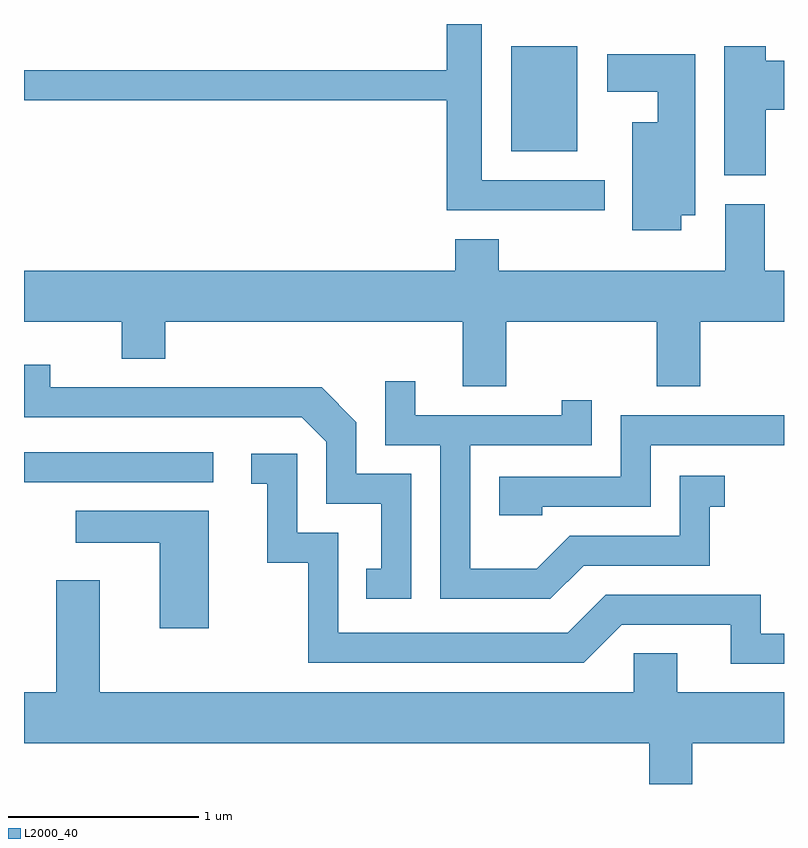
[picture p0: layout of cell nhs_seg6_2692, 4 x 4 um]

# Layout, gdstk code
import gdstk
lib = gdstk.Library(unit=1e-6, precision=1e-09)
def R(c, l, rs):  # rectangles x0, y0, x1, y1
    for r in rs: c.add(gdstk.rectangle(r[:2], r[2:], *l))
def P(c, l, *ps):  # polygons
    for p in ps: c.add(gdstk.Polygon(p, *l))
L2000_40 = (2000, 40)

nhs_seg6_2692 = lib.new_cell('nhs_seg6_2692')
R(nhs_seg6_2692, L2000_40, [(265.611,1655.751,266.608,1655.909), (268.176,1657.491,268.524,1658.044)])
P(nhs_seg6_2692, L2000_40, [(268.668,1657.339),(268.019,1657.339),(268.019,1658.162),(267.836,1658.162),(267.836,1657.919),(265.611,1657.919),(265.611,1657.761),(267.836,1657.761),(267.836,1657.181),(268.668,1657.181)],
  [(269.514,1657.711),(269.611,1657.711),(269.611,1657.969),(269.514,1657.969),(269.514,1658.044),(269.296,1658.044),(269.296,1657.366),(269.514,1657.366)],
  [(269.069,1657.156),(269.144,1657.156),(269.144,1658.004),(268.681,1658.004),(268.681,1657.806),(268.946,1657.806),(268.946,1657.644),(268.811,1657.644),(268.811,1657.076),(269.069,1657.076)],
  [(268.149,1656.596),(268.941,1656.596),(268.941,1656.256),(269.169,1656.256),(269.169,1656.596),(269.611,1656.596),(269.611,1656.864),(269.509,1656.864),(269.509,1657.214),(269.301,1657.214),(269.301,1656.864),(268.109,1656.864),(268.109,1657.029),(267.881,1657.029),(267.881,1656.864),(265.611,1656.864),(265.611,1656.596),(266.126,1656.596),(266.126,1656.401),(266.354,1656.401),(266.354,1656.596),(267.921,1656.596),(267.921,1656.256),(268.149,1656.256)],
  [(267.649,1655.794),(267.359,1655.794),(267.359,1656.067),(267.177,1656.249),(265.749,1656.249),(265.749,1656.369),(265.611,1656.369),(265.611,1656.091),(267.074,1656.091),(267.201,1655.964),(267.201,1655.636),(267.491,1655.636),(267.491,1655.294),(267.413,1655.294),(267.413,1655.136),(267.649,1655.136)],
  [(268.557,1655.311),(269.219,1655.311),(269.219,1655.621),(269.298,1655.621),(269.298,1655.784),(269.061,1655.784),(269.061,1655.469),(268.484,1655.469),(268.309,1655.294),(267.959,1655.294),(267.959,1655.946),(268.599,1655.946),(268.599,1656.183),(268.441,1656.183),(268.441,1656.104),(267.669,1656.104),(267.669,1656.283),(267.511,1656.283),(267.511,1655.946),(267.801,1655.946),(267.801,1655.136),(268.382,1655.136)],
  [(268.339,1655.621),(268.909,1655.621),(268.909,1655.946),(269.611,1655.946),(269.611,1656.104),(268.751,1656.104),(268.751,1655.779),(268.111,1655.779),(268.111,1655.576),(268.339,1655.576)],
  [(269.611,1654.954),(269.489,1654.954),(269.489,1655.159),(268.674,1655.159),(268.474,1654.959),(267.264,1654.959),(267.264,1655.484),(267.049,1655.484),(267.049,1655.899),(266.808,1655.899),(266.808,1655.741),(266.891,1655.741),(266.891,1655.326),(267.106,1655.326),(267.106,1654.801),(268.557,1654.801),(268.757,1655.001),(269.331,1655.001),(269.331,1654.796),(269.611,1654.796)],
  [(266.584,1655.599),(265.883,1655.599),(265.883,1655.431),(266.326,1655.431),(266.326,1654.981),(266.584,1654.981)],
  [(269.129,1654.376),(269.611,1654.376),(269.611,1654.644),(269.049,1654.644),(269.049,1654.849),(268.821,1654.849),(268.821,1654.644),(266.009,1654.644),(266.009,1655.234),(265.781,1655.234),(265.781,1654.644),(265.611,1654.644),(265.611,1654.376),(268.901,1654.376),(268.901,1654.162),(269.129,1654.162)])

lib.write_gds('nhs_seg6_2692.gds')
